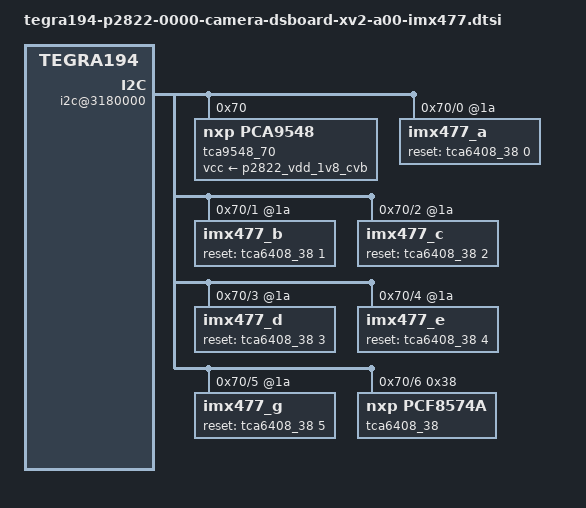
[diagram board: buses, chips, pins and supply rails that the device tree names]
/*
 * Copyright (c) 2015-2018, NVIDIA CORPORATION.  All rights reserved.
 *
 * This program is free software; you can redistribute it and/or modify
 * it under the terms of the GNU General Public License as published by
 * the Free Software Foundation; either version 2 of the License, or
 * (at your option) any later version.
 *
 * This program is distributed in the hope that it will be useful, but WITHOUT
 * ANY WARRANTY; without even the implied warranty of MERCHANTABILITY or
 * FITNESS FOR A PARTICULAR PURPOSE.  See the GNU General Public License for
 * more details.
 *
 * You should have received a copy of the GNU General Public License
 * along with this program.  If not, see <http://www.gnu.org/licenses/>.
 */
#include "tegra194-camera-dsboard-xv2-a00-imx477.dtsi"
#include "dt-bindings/clock/tegra194-clock.h"

#define CAMERA_I2C_MUX_BUS(x) (0x1E + x)

/ {

	i2c@3180000 {
		tca9548_70: tca9548@70 {
			status = "okay";
			compatible = "nxp,pca9548";
			reg = <0x70>;
			#address-cells = <1>;
			#size-cells = <0>;
			vcc-supply = <&p2822_vdd_1v8_cvb>;
			skip_mux_detect;
			force_bus_start = <CAMERA_I2C_MUX_BUS(0)>;
			i2c@0 {
				reg = <0>;
				i2c-mux,deselect-on-exit;
				#address-cells = <1>;
				#size-cells = <0>;
				imx477_a@1a {
					reset-gpios = <&tca6408_38 0 GPIO_ACTIVE_HIGH>;
				};
			};

			i2c@1 {
				reg = <1>;
				i2c-mux,deselect-on-exit;
				#address-cells = <1>;
				#size-cells = <0>;
				imx477_b@1a {
					reset-gpios = <&tca6408_38 1 GPIO_ACTIVE_HIGH>;
				};
			};

			i2c@2 {
				reg = <2>;
				i2c-mux,deselect-on-exit;
				#address-cells = <1>;
				#size-cells = <0>;
				imx477_c@1a {
					reset-gpios = <&tca6408_38 2 GPIO_ACTIVE_HIGH>;
				};
			};

			i2c@3 {
				reg = <3>;
				i2c-mux,deselect-on-exit;
				#address-cells = <1>;
				#size-cells = <0>;
				imx477_d@1a {
					reset-gpios = <&tca6408_38 3 GPIO_ACTIVE_HIGH>;
				};
			};
			i2c@4 {
				reg = <4>;
				i2c-mux,deselect-on-exit;
				#address-cells = <1>;
				#size-cells = <0>;
				imx477_e@1a {
					reset-gpios = <&tca6408_38 4 GPIO_ACTIVE_HIGH>;
				};
			};
			i2c@5 {
				reg = <5>;
				i2c-mux,deselect-on-exit;
				#address-cells = <1>;
				#size-cells = <0>;
				imx477_g@1a {
					reset-gpios = <&tca6408_38 5 GPIO_ACTIVE_HIGH>;
				};
			};


			i2c@6 {
				reg = <6>;
				i2c-mux,deselect-on-exit;
				#address-cells = <1>;
				#size-cells = <0>;
				tca6408_38: tca6408@38 {
					compatible = "nxp,pcf8574a";
					reg = <0x38>;
					gpio-controller;
					#gpio-cells = <2>;
					tca6408_38_outlow {
						/*
						 * GPIO-0 : PWDN_CAM0
						 * GPIO-1 : PWDN_CAM1
						 * GPIO-2 : PWDN_CAM2
						 * GPIO-3 : PWDN_CAM3
						 * GPIO-4 : PWDN_CAM4
						 * GPIO-5 : PWDN_CAM5
						 * GPIO-6 : 
						 * GPIO-7 : 
						 */
						gpio-hog;
						gpios = <0 0 1 0 2 0 3 0 4 0 5 0 6 0 7 0>;
						output-low;
						label = "tca6408_38_outlow_0",
							"tca6408_38_outlow_1",
							"tca6408_38_outlow_2",
							"tca6408_38_outlow_3",
							"tca6408_38_outlow_4",
							"tca6408_38_outlow_5",
							"tca6408_38_outlow_6",
							"tca6408_38_outlow_7";
					};
				};
			};
		};
	};
};
